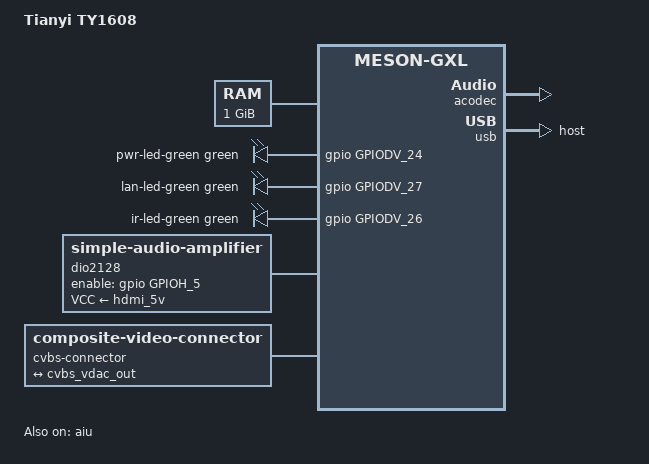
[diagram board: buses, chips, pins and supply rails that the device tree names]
// SPDX-License-Identifier: (GPL-2.0+ OR MIT)
/*
 * Copyright (c) 2025 retro98boy <retro98boy@qq.com>
 */

/dts-v1/;

#include "meson-gxl-s905x-p212.dtsi"
#include <dt-bindings/sound/meson-aiu.h>
#include <dt-bindings/input/input.h>
#include <dt-bindings/leds/common.h>

/ {
	compatible = "tianyi,ty1608", "amlogic,s905x", "amlogic,meson-gxl";
	model = "Tianyi TY1608";

	aliases {
		rtc1 = &vrtc;
	};

	memory@0 {
		reg = <0x0 0x0 0x0 0x40000000>;
	};

	gpio-leds {
		compatible = "gpio-leds";

		/*
		 * The power LED on the device is always on, defaulting to red.
		 * Pulling GPIODV_24 high changes it to green, indicating that the kernel has started.
		 */
		pwr-led-green {
			function = LED_FUNCTION_POWER;
			color = <LED_COLOR_ID_GREEN>;
			gpios = <&gpio GPIODV_24 GPIO_ACTIVE_HIGH>;
			default-state = "on";
		};

		/*
		 * modprobe ledtrig-netdev
		 * echo netdev > /sys/class/leds/green\:lan/trigger
		 * echo wlan0 > /sys/class/leds/green\:lan/device_name
		 *
		 * echo 1 > /sys/class/leds/green\:lan/link
		 * or
		 * echo 1 > /sys/class/leds/green\:lan/rx
		 */
		lan-led-green {
			function = LED_FUNCTION_LAN;
			color = <LED_COLOR_ID_GREEN>;
			gpios = <&gpio GPIODV_27 GPIO_ACTIVE_HIGH>;
			default-state = "off";
			linux,default-trigger = "netdev";
		};

		ir-led-green {
			function = LED_FUNCTION_STATUS;
			color = <LED_COLOR_ID_GREEN>;
			gpios = <&gpio GPIODV_26 GPIO_ACTIVE_HIGH>;
			default-state = "on";
		};
	};

	dio2128: analog-amplifier {
		compatible = "simple-audio-amplifier";
		sound-name-prefix = "AU2";
		VCC-supply = <&hdmi_5v>;
		enable-gpios = <&gpio GPIOH_5 GPIO_ACTIVE_HIGH>;
	};

	cvbs-connector {
		compatible = "composite-video-connector";

		port {
			cvbs_connector_in: endpoint {
				remote-endpoint = <&cvbs_vdac_out>;
			};
		};
	};

	sound {
		compatible = "amlogic,gx-sound-card";
		model = "tianyi-ty1608";
		audio-aux-devs = <&dio2128>;
		audio-widgets = "Line", "Lineout";
		audio-routing = "AU2 INL", "ACODEC LOLN",
				"AU2 INR", "ACODEC LORN",
				"Lineout", "AU2 OUTL",
				"Lineout", "AU2 OUTR";
		clocks = <&clkc CLKID_MPLL0>,
			 <&clkc CLKID_MPLL1>,
			 <&clkc CLKID_MPLL2>;

		assigned-clocks = <&clkc CLKID_MPLL0>,
				  <&clkc CLKID_MPLL1>,
				  <&clkc CLKID_MPLL2>;
		assigned-clock-parents = <0>, <0>, <0>;
		assigned-clock-rates = <294912000>,
				       <270950400>,
				       <393216000>;
		dai-link-0 {
			sound-dai = <&aiu AIU_CPU CPU_I2S_FIFO>;
		};

		dai-link-1 {
			sound-dai = <&aiu AIU_CPU CPU_I2S_ENCODER>;
			dai-format = "i2s";
			mclk-fs = <256>;

			codec-0 {
				sound-dai = <&aiu AIU_ACODEC CTRL_I2S>;
			};
		};

		dai-link-2 {
			sound-dai = <&aiu AIU_ACODEC CTRL_OUT>;

			codec-0 {
				sound-dai = <&acodec>;
			};
		};
	};
};

&acodec {
	AVDD-supply = <&vddio_ao18>;
	status = "okay";
};

&aiu {
	status = "okay";
};

&cvbs_vdac_port {
	cvbs_vdac_out: endpoint {
		remote-endpoint = <&cvbs_connector_in>;
	};
};

&hdmi_5v {
	gpio = <&gpio GPIOAO_4 GPIO_ACTIVE_HIGH>;
};

&sd_emmc_a {
	status = "disabled";
};

&sd_emmc_b {
	status = "disabled";
};

&uart_A {
	status = "disabled";
	/delete-node/ bluetooth;
};

&usb {
	dr_mode = "host";
};

/* https://github.com/chewitt/linux/blob/amlogic-6.18.y/arch/arm64/boot/dts/amlogic/meson-gxlx-s905l-p271.dts */
/* Mali 450-MP2 */
&mali {
	interrupts = <GIC_SPI 160 IRQ_TYPE_LEVEL_HIGH>,
		     <GIC_SPI 161 IRQ_TYPE_LEVEL_HIGH>,
		     <GIC_SPI 162 IRQ_TYPE_LEVEL_HIGH>,
		     <GIC_SPI 163 IRQ_TYPE_LEVEL_HIGH>,
		     <GIC_SPI 164 IRQ_TYPE_LEVEL_HIGH>,
		     <GIC_SPI 165 IRQ_TYPE_LEVEL_HIGH>,
		     <GIC_SPI 166 IRQ_TYPE_LEVEL_HIGH>,
		     <GIC_SPI 167 IRQ_TYPE_LEVEL_HIGH>;
	interrupt-names = "gp", "gpmmu", "pp", "pmu",
		"pp0", "ppmmu0", "pp1", "ppmmu1";
};
